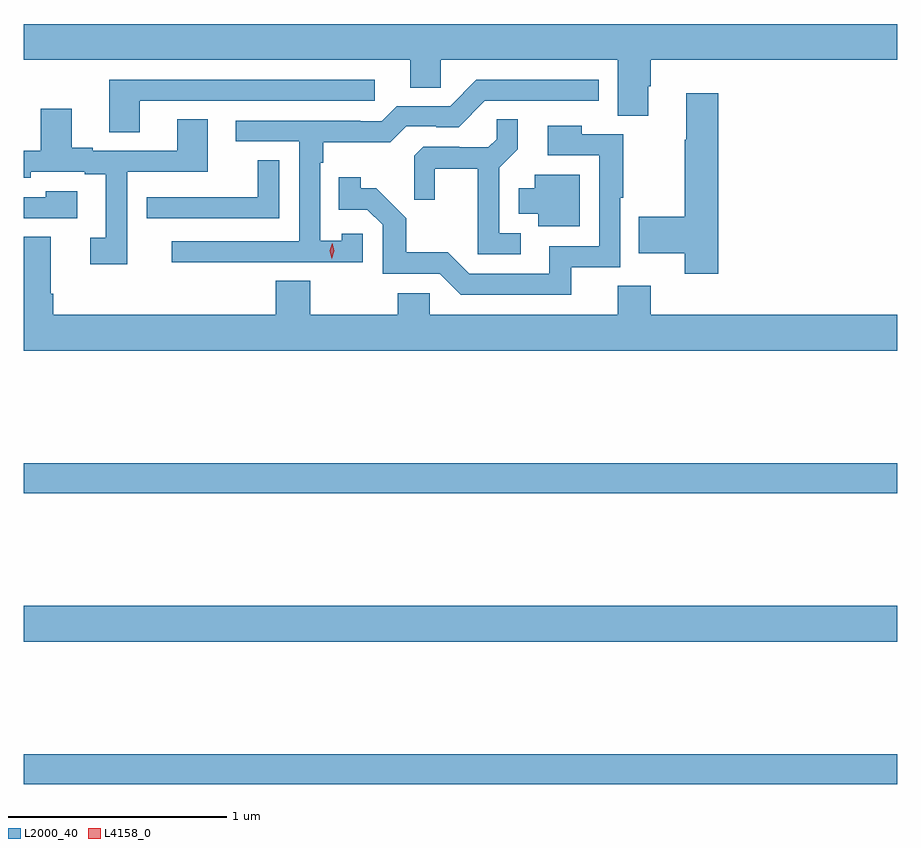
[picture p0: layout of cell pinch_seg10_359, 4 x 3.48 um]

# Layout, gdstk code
import gdstk
lib = gdstk.Library(unit=1e-6, precision=1e-09)
def R(c, l, rs):  # rectangles x0, y0, x1, y1
    for r in rs: c.add(gdstk.rectangle(r[:2], r[2:], *l))
def P(c, l, *ps):  # polygons
    for p in ps: c.add(gdstk.Polygon(p, *l))
L2000_40 = (2000, 40)
L4158_0 = (4158, 0)

pinch_seg10_359 = lib.new_cell('pinch_seg10_359')
R(pinch_seg10_359, L2000_40, [(539.716,1270.36,543.716,1270.496), (539.716,1271.012,543.716,1271.176), (539.716,1271.692,543.716,1271.828)])
P(pinch_seg10_359, L2000_40, [(539.716,1273.676),(541.487,1273.676),(541.487,1273.549),(541.626,1273.549),(541.626,1273.676),(542.435,1273.676),(542.435,1273.42),(542.575,1273.42),(542.575,1273.554),(542.588,1273.554),(542.588,1273.676),(543.716,1273.676),(543.716,1273.84),(539.716,1273.84)],
  [(540.247,1273.488),(541.324,1273.488),(541.324,1273.584),(540.107,1273.584),(540.107,1273.345),(540.247,1273.345)],
  [(540.785,1272.75),(541.269,1272.75),(541.269,1272.879),(541.173,1272.879),(541.173,1272.847),(541.074,1272.847),(541.074,1273.205),(541.087,1273.205),(541.087,1273.298),(541.394,1273.298),(541.467,1273.371),(541.606,1273.371),(541.606,1273.368),(541.707,1273.368),(541.827,1273.488),(542.35,1273.488),(542.35,1273.584),(541.788,1273.584),(541.668,1273.464),(541.425,1273.464),(541.356,1273.395),(541.256,1273.395),(541.256,1273.398),(540.687,1273.398),(540.687,1273.302),(540.978,1273.302),(540.978,1272.846),(540.393,1272.846),(540.393,1272.748),(540.785,1272.748)],
  [(542.897,1273.522),(542.75,1273.522),(542.75,1273.309),(542.743,1273.309),(542.743,1272.957),(542.533,1272.957),(542.533,1272.791),(542.743,1272.791),(542.743,1272.696),(542.897,1272.696)],
  [(540.189,1273.164),(540.559,1273.164),(540.559,1273.403),(540.419,1273.403),(540.419,1273.26),(540.031,1273.26),(540.031,1273.273),(539.935,1273.273),(539.935,1273.453),(539.795,1273.453),(539.795,1273.26),(539.716,1273.26),(539.716,1273.137),(539.748,1273.137),(539.748,1273.164),(539.996,1273.164),(539.996,1273.152),(540.092,1273.152),(540.092,1272.861),(540.021,1272.861),(540.021,1272.741),(540.189,1272.741)],
  [(541.993,1272.882),(541.893,1272.882),(541.893,1273.181),(541.979,1273.267),(541.979,1273.403),(541.881,1273.403),(541.881,1273.312),(541.844,1273.275),(541.71,1273.275),(541.71,1273.278),(541.545,1273.278),(541.504,1273.237),(541.504,1273.035),(541.598,1273.035),(541.598,1273.178),(541.796,1273.178),(541.796,1272.786),(541.993,1272.786)],
  [(542.222,1272.726),(542.448,1272.726),(542.448,1273.045),(542.461,1273.045),(542.461,1273.335),(542.271,1273.335),(542.271,1273.375),(542.115,1273.375),(542.115,1273.239),(542.352,1273.239),(542.352,1272.822),(542.123,1272.822),(542.123,1272.696),(541.755,1272.696),(541.657,1272.795),(541.468,1272.795),(541.468,1272.95),(541.33,1273.088),(541.26,1273.088),(541.26,1273.138),(541.159,1273.138),(541.159,1272.99),(541.29,1272.99),(541.359,1272.921),(541.359,1272.696),(541.62,1272.696),(541.716,1272.6),(542.222,1272.6)],
  [(540.885,1273.217),(540.787,1273.217),(540.787,1273.047),(540.391,1273.047),(540.391,1273.046),(540.279,1273.046),(540.279,1272.951),(540.885,1272.951)],
  [(542.263,1273.15),(542.057,1273.15),(542.057,1273.087),(541.982,1273.087),(541.982,1272.971),(542.072,1272.971),(542.072,1272.914),(542.263,1272.914)],
  [(539.962,1273.075),(539.817,1273.075),(539.817,1273.047),(539.716,1273.047),(539.716,1272.951),(539.962,1272.951)],
  [(543.716,1272.508),(542.588,1272.508),(542.588,1272.641),(542.435,1272.641),(542.435,1272.508),(541.575,1272.508),(541.575,1272.606),(541.429,1272.606),(541.429,1272.508),(541.029,1272.508),(541.029,1272.665),(540.869,1272.665),(540.869,1272.508),(539.852,1272.508),(539.852,1272.604),(539.839,1272.604),(539.839,1272.865),(539.716,1272.865),(539.716,1272.344),(543.716,1272.344)])
P(pinch_seg10_359, L4158_0, [(541.127,1272.765),(541.127,1272.765),(541.118,1272.802),(541.128,1272.837),(541.128,1272.837),(541.128,1272.837),(541.138,1272.801),(541.127,1272.765)])

lib.write_gds('pinch_seg10_359.gds')
